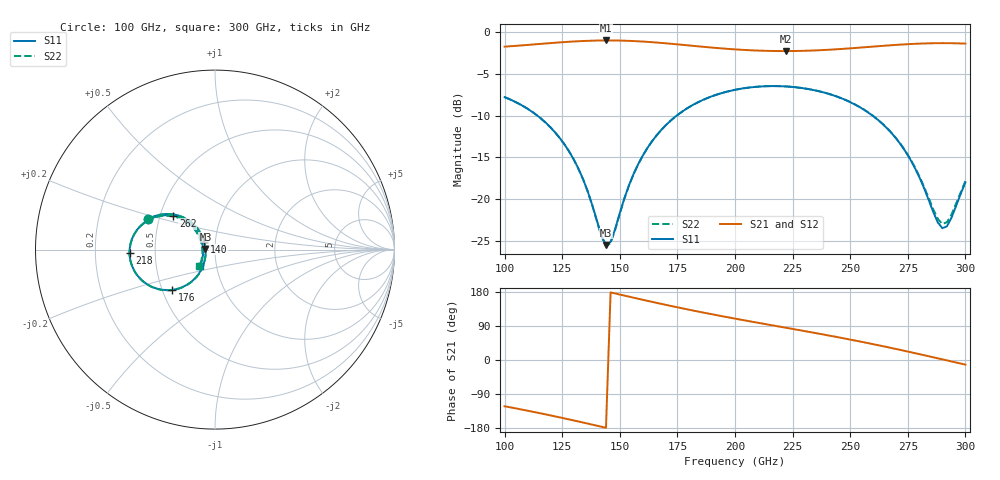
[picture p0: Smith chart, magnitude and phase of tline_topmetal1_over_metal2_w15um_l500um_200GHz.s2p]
#  GHZ S DB R 50
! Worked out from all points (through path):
!   101 points, 100 GHz to 300 GHz, reference 50 ohm
!   highest |S21| = -0.96 dB at 144 GHz (marker M1); lowest = -2.2 dB at 222 GHz (marker M2)
!   group delay of S21, straight-line fit = 3.41 ps
!   lowest |S11| = -25.5 dB at 144 GHz (marker M3), VSWR 1.11, Z = 45 + j0.285 ohm
!   |S11| at or under -10 dB: 114.3 GHz to 174.6 GHz (60.31 GHz wide, 41.7 % of centre); 259.8 GHz to end of sweep
!   |S22| runs from -25.6 to -6.4 dB; largest |S21 - S12| = 1e-14
!   S11 on the Smith chart (normalised r, x): 100 GHz: 0.44, +0.18; 140 GHz: 0.88, +0.08; 176 GHz: 0.56, -0.28; 218 GHz: 0.35, -0.02; 262 GHz: 0.59, +0.24; 300 GHz: 0.83, -0.16
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100  -7.76 155.6  -1.70 -122.1  -1.70 -122.1  -7.76 155.6
120  -11.41 136.2  -1.28 -146.3  -1.28 -146.3  -11.41 136.1
128  -14.28 130.6  -1.12 -156.8  -1.12 -156.8  -14.29 130.5
134  -17.56 130.5  -1.03 -165.0  -1.03 -165.0  -17.58 130.2
140  -22.51 143.8  -0.98 -173.3  -0.98 -173.3  -22.58 143.4
144  -25.49 176.6  -0.96 -178.9  -0.96 -178.9  -25.64 176.6
146  -25.13 -161.3  -0.96 178.3  -0.96 178.3  -25.28 -160.8
152  -19.89 -128.4  -0.99 169.9  -0.99 169.9  -19.93 -127.8
158  -15.79 -123.9  -1.06 161.6  -1.06 161.6  -15.80 -123.4
168  -11.70 -129.4  -1.26 148.1  -1.26 148.1  -11.70 -129.1
176  -9.71 -136.8  -1.46 137.8  -1.46 137.8  -9.71 -136.4
200  -6.88 -160.6  -2.03 109.3  -2.03 109.3  -6.88 -160.3
218  -6.44 -178.0  -2.23 89.5  -2.23 89.5  -6.44 -177.6
222  -6.48 178.2  -2.23 85.2  -2.23 85.2  -6.48 178.6
234  -6.91 166.9  -2.16 72.1  -2.16 72.1  -6.90 167.3
248  -8.11 153.6  -1.95 56.2  -1.95 56.2  -8.10 154.2
262  -10.48 141.0  -1.65 39.2  -1.65 39.2  -10.46 141.8
268  -12.09 136.5  -1.53 31.5  -1.53 31.5  -12.06 137.5
278  -16.22 134.1  -1.37 18.2  -1.37 18.2  -16.12 135.5
290  -23.49 178.2  -1.29 1.7  -1.29 1.7  -22.98 178.6
294  -22.21 -151.2  -1.29 -3.9  -1.29 -3.9  -21.82 -152.5
300  -18.00 -131.7  -1.34 -12.2  -1.34 -12.2  -17.85 -133.1
